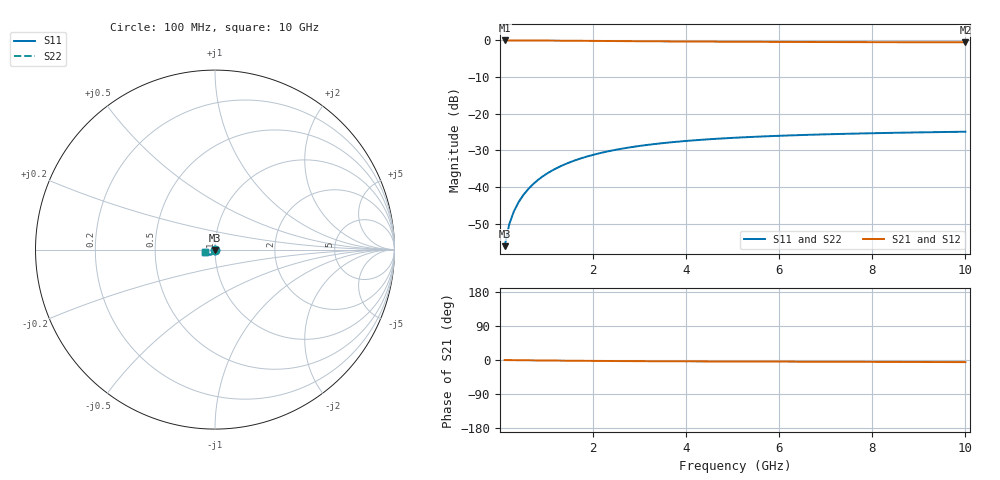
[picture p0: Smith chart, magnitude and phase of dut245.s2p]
! Touchstone file exported from HFSS 2024.1.0
!  File:  C:/UserFiles/LocalFiles/RDL_TSV_Batchsim/temp_TSV1_245_1778768589.aedt
!  Generated:  10:27:08 PM May 14, 2026
!  Design:  TSV1
!  Project:  temp_TSV1_245_1778768589
!  Setup:  Setup1
!  Solution:  Sweep
! Variables:
!  dtsv = 11.5um
!  hbump = 3um
!  htsv = 87.33um
!  lrdl = 252.1521522um
!  p = 40
!  p1 = 47.21um
!  t = 500um
!  trdl = 3um
!  wrdl = 24.89489489um
# GHz S MA R 50.000000
! Terminal data exported
! Port[1] = TSV22_T1
! Port[2] = TSV22_T2
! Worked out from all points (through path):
!   100 points, 100 MHz to 10 GHz, reference 50 ohm
!   highest |S21| = 0.00 dB at 100 MHz (marker M1); lowest = -0.5 dB at 10 GHz (marker M2)
!   lowest |S11| = -56.2 dB at 100 MHz (marker M3), VSWR 1.00, Z = 50 - j0.155 ohm
!   |S11| at or under -10 dB: start of sweep to end of sweep
!   |S22| runs from -56.2 to -24.9 dB; largest |S21 - S12| = 4.2e-15
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0.1  0.001555 -87.3  0.9998 -0.1  0.9998 -0.1  0.001555 -87.3
! Gamma 0 0 0 0
! Port Impedance 50 0 50 0
0.2  0.003103 -91.0  0.9997 -0.3  0.9997 -0.3  0.003103 -91.0
0.3  0.004652 -93.3  0.9994 -0.4  0.9994 -0.4  0.004652 -93.3
0.4  0.006195 -95.2  0.9991 -0.6  0.9991 -0.6  0.006195 -95.2
0.5  0.007727 -97.1  0.9987 -0.7  0.9987 -0.7  0.007727 -97.1
0.6  0.009243 -98.9  0.9982 -0.8  0.9982 -0.8  0.009243 -98.9
0.7  0.01074 -100.6  0.9977 -1.0  0.9977 -1.0  0.01074 -100.6
0.8  0.01221 -102.3  0.997 -1.1  0.997 -1.1  0.01221 -102.3
0.9  0.01366 -103.9  0.9963 -1.2  0.9963 -1.2  0.01366 -103.9
1.1  0.01647 -107.1  0.9948 -1.4  0.9948 -1.4  0.01647 -107.1
1.4  0.02045 -111.7  0.9921 -1.8  0.9921 -1.8  0.02045 -111.7
1.6  0.02292 -114.6  0.9902 -2.0  0.9902 -2.0  0.02292 -114.6
1.8  0.02524 -117.4  0.9882 -2.2  0.9882 -2.2  0.02524 -117.4
2.1  0.02846 -121.3  0.9851 -2.4  0.9851 -2.4  0.02846 -121.3
2.5  0.03226 -126.1  0.9809 -2.7  0.9809 -2.7  0.03226 -126.1
2.9  0.03555 -130.4  0.977 -3.0  0.977 -3.0  0.03555 -130.4
3.4  0.03904 -135.3  0.9723 -3.3  0.9723 -3.3  0.03904 -135.3
4.2  0.04345 -141.9  0.9659 -3.6  0.9659 -3.6  0.04345 -141.9
5.1  0.04715 -148.0  0.9601 -4.0  0.9601 -4.0  0.04715 -148.0
6.7  0.05165 -156.6  0.9525 -4.5  0.9525 -4.5  0.05165 -156.6
8.4  0.05474 -163.6  0.9471 -5.0  0.9471 -5.0  0.05474 -163.6
10  0.05675 -169.0  0.9435 -5.6  0.9435 -5.6  0.05676 -169.0
